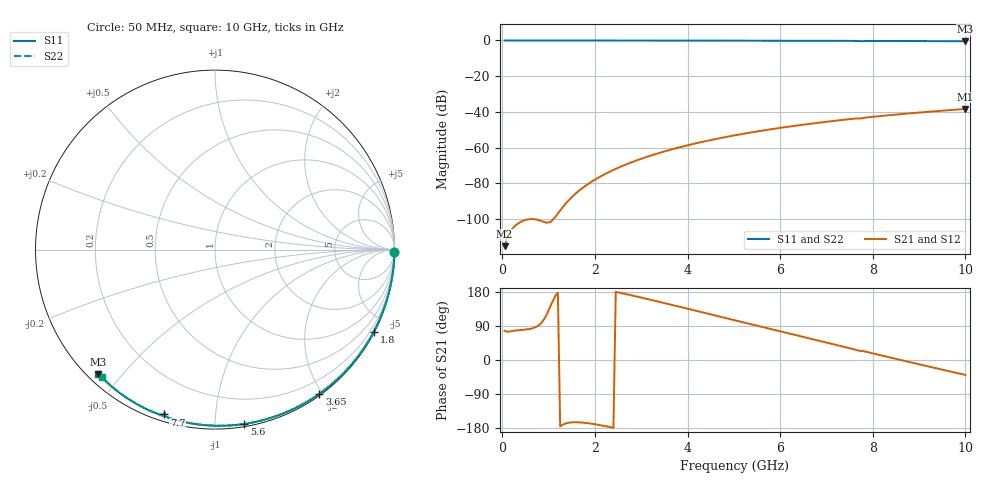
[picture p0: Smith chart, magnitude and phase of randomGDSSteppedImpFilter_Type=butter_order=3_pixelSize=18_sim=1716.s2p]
! freq	dB(S11)	phase(S11)	dB(S12)	phase(S12)
!  dB(S21)	phase(S21)	dB(S22)	phase(S22)
!S-par simulation data
#  GHz  S  DB  R 50
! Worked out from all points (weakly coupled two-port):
!   200 points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, 50 MHz to 10 GHz, reference 50 ohm
!   highest |S21| = -38.36 dB at 10 GHz (marker M1); lowest = -115.1 dB at 50 MHz (marker M2)
!   lowest |S11| = -0.4 dB at 10 GHz (marker M3), VSWR 38.79, Z = 1.53 - j21.6 ohm
!   |S11| at or under -10 dB: nowhere
!   |S22| runs from -0.4 to 0.0 dB; largest |S21 - S12| = 0
!   S11 on the Smith chart (normalised r, x): 50 MHz: open; 1.8 GHz: 0.04, -4.11; 3.65 GHz: 0.02, -1.96; 5.6 GHz: 0.02, -1.18; 7.7 GHz: 0.03, -0.74; 10 GHz: 0.03, -0.43
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0.05  -0.00 -0.8  -115.14 77.2  -115.14 77.2  -0.00 -0.8
0.9  -0.02 -13.8  -101.62 107.4  -101.62 107.4  -0.02 -13.6
1.75  -0.03 -26.6  -82.22 -165.4  -82.22 -165.4  -0.03 -26.3
1.8  -0.03 -27.3  -81.28 -166.0  -81.28 -166.0  -0.03 -27.0
1.85  -0.04 -28.1  -80.38 -166.8  -80.38 -166.8  -0.04 -27.7
1.9  -0.04 -28.8  -79.52 -167.6  -79.52 -167.6  -0.04 -28.5
2.25  -0.04 -34.0  -74.33 -175.1  -74.33 -175.1  -0.04 -33.6
2.65  -0.05 -39.9  -69.62 174.5  -69.62 174.5  -0.05 -39.4
3  -0.06 -44.9  -66.20 164.7  -66.20 164.7  -0.06 -44.4
3.4  -0.07 -50.6  -62.86 153.2  -62.86 153.2  -0.07 -50.0
3.65  -0.07 -54.1  -61.02 145.8  -61.02 145.8  -0.07 -53.5
4.3  -0.09 -63.1  -56.87 126.4  -56.87 126.4  -0.09 -62.4
5.05  -0.11 -73.2  -52.95 104.0  -52.95 104.0  -0.11 -72.3
5.6  -0.13 -80.4  -50.52 87.5  -50.52 87.5  -0.13 -79.5
6.7  -0.18 -94.4  -46.46 54.9  -46.46 54.9  -0.18 -93.2
7.4  -0.23 -103.1  -44.31 34.2  -44.31 34.2  -0.22 -101.6
7.7  -0.34 -107.1  -43.62 24.6  -43.62 24.6  -0.24 -105.2
7.75  -0.44 -107.2  -43.62 24.0  -43.62 24.0  -0.24 -105.8
7.8  -0.37 -107.1  -43.40 23.5  -43.40 23.5  -0.25 -106.4
8.35  -0.29 -114.0  -41.84 7.3  -41.84 7.3  -0.29 -112.8
9.15  -0.36 -123.4  -40.02 -15.5  -40.02 -15.5  -0.36 -122.0
10  -0.45 -133.2  -38.36 -39.4  -38.36 -39.4  -0.45 -131.6
